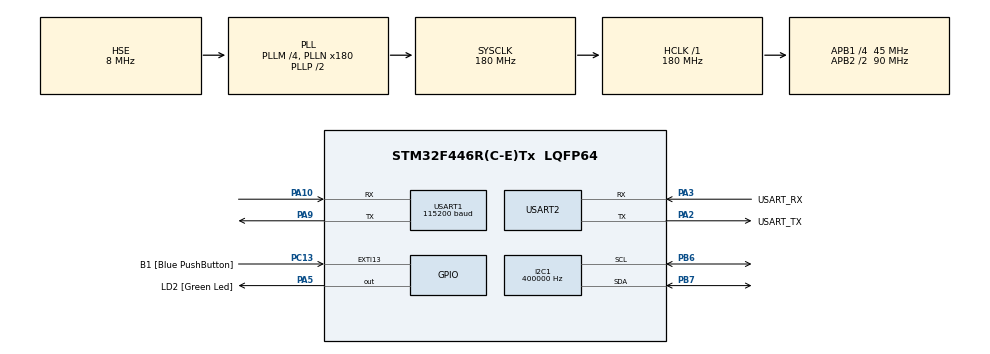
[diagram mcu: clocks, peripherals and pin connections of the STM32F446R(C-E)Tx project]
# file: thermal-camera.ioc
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Dma.I2C1_RX.0.Direction=DMA_PERIPH_TO_MEMORY
Dma.I2C1_RX.0.FIFOMode=DMA_FIFOMODE_ENABLE
Dma.I2C1_RX.0.FIFOThreshold=DMA_FIFO_THRESHOLD_FULL
Dma.I2C1_RX.0.Instance=DMA1_Stream0
Dma.I2C1_RX.0.MemBurst=DMA_MBURST_SINGLE
Dma.I2C1_RX.0.MemDataAlignment=DMA_MDATAALIGN_HALFWORD
Dma.I2C1_RX.0.MemInc=DMA_MINC_ENABLE
Dma.I2C1_RX.0.Mode=DMA_CIRCULAR
Dma.I2C1_RX.0.PeriphBurst=DMA_PBURST_SINGLE
Dma.I2C1_RX.0.PeriphDataAlignment=DMA_PDATAALIGN_HALFWORD
Dma.I2C1_RX.0.PeriphInc=DMA_PINC_DISABLE
Dma.I2C1_RX.0.Priority=DMA_PRIORITY_LOW
Dma.Request0=I2C1_RX
FREERTOS.HEAP_NUMBER=5
FREERTOS.Tasks01=ThermalCamTask,24,4096,StartCamTask,As weak,NULL,Dynamic,NULL,NULL;EspTxTask,24,512,StartEspTxTask,As weak,NULL,Dynamic,NULL,NULL
FREERTOS.configMINIMAL_STACK_SIZE=512
FREERTOS.configTOTAL_HEAP_SIZE=32768
FREERTOS.configUSE_PREEMPTION=1
I2C1.ClockSpeed=400000
I2C1.I2C_Mode=I2C_Fast
I2C1.OwnAddress=0x0
Mcu.Family=STM32F4
Mcu.Name=STM32F446R(C-E)Tx
Mcu.Package=LQFP64
NVIC.DMA1_Stream0_IRQn=true\:5\:0\:false\:false\:true\:true\:false\:true\:true
NVIC.I2C1_EV_IRQn=true\:5\:0\:false\:false\:true\:true\:true\:true\:true
NVIC.PriorityGroup=NVIC_PRIORITYGROUP_4
NVIC.TIM6_DAC_IRQn=true\:15\:0\:false\:false\:true\:false\:false\:true\:true
NVIC.TimeBase=TIM6_DAC_IRQn
NVIC.TimeBaseIP=TIM6
NVIC.USART1_IRQn=true\:5\:0\:false\:false\:true\:true\:true\:true\:true
NVIC.USART2_IRQn=true\:5\:0\:false\:false\:true\:true\:true\:true\:true
PA10.Mode=Asynchronous
PA10.Signal=USART1_RX
PA13.GPIO_Label=TMS
PA13.Mode=Serial_Wire
PA13.Signal=SYS_JTMS-SWDIO
PA14.GPIO_Label=TCK
PA14.Mode=Serial_Wire
PA14.Signal=SYS_JTCK-SWCLK
PA2.GPIO_Label=USART_TX
PA2.Mode=Asynchronous
PA2.Signal=USART2_TX
PA3.GPIO_Label=USART_RX
PA3.Mode=Asynchronous
PA3.Signal=USART2_RX
PA5.GPIO_Label=LD2 [Green Led]
PA5.Signal=GPIO_Output
PA9.Mode=Asynchronous
PA9.Signal=USART1_TX
PB6.Mode=I2C
PB6.Signal=I2C1_SCL
PB7.Mode=I2C
PB7.Signal=I2C1_SDA
PC13.GPIO_Label=B1 [Blue PushButton]
PC13.GPIO_ModeDefaultEXTI=GPIO_MODE_IT_FALLING
PC13.Signal=GPXTI13
PH0-OSC_IN.Mode=HSE-External-Oscillator
PH0-OSC_IN.Signal=RCC_OSC_IN
PH1-OSC_OUT.Mode=HSE-External-Oscillator
PH1-OSC_OUT.Signal=RCC_OSC_OUT
ProjectManager.HeapSize=0x200
ProjectManager.StackSize=0x400
ProjectManager.TargetToolchain=STM32CubeIDE
RCC.48MHZClocksFreq_Value=84000000
RCC.AHBFreq_Value=180000000
RCC.APB1CLKDivider=RCC_HCLK_DIV4
RCC.APB1Freq_Value=45000000
RCC.APB1TimFreq_Value=90000000
RCC.APB2CLKDivider=RCC_HCLK_DIV2
RCC.APB2Freq_Value=90000000
RCC.APB2TimFreq_Value=180000000
RCC.CortexFreq_Value=180000000
RCC.FLatency-AdvancedSettings=FLASH_LATENCY_5
RCC.HCLKFreq_Value=180000000
RCC.HSE_VALUE=8000000
RCC.HSI_VALUE=16000000
RCC.PLLM=4
RCC.PLLN=180
RCC.PLLSourceVirtual=RCC_PLLSOURCE_HSE
RCC.SYSCLKFreq_VALUE=180000000
RCC.SYSCLKSource=RCC_SYSCLKSOURCE_PLLCLK
RCC.USBFreq_Value=180000000
RCC.VCOOutputFreq_Value=360000000
USART1.BaudRate=115200
USART1.VirtualMode=VM_ASYNC
USART2.VirtualMode=VM_ASYNC
VP_FREERTOS_VS_CMSIS_V2.Mode=CMSIS_V2
VP_SYS_VS_tim6.Mode=TIM6
board=NUCLEO-F446RE

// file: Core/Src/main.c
/* USER CODE BEGIN Header */
/**
  ******************************************************************************
  * @file           : main.c
  * @brief          : Main program body
  ******************************************************************************
  * @attention
  *
  * Copyright (c) 2022 STMicroelectronics.
  * All rights reserved.
  *
  * This software is licensed under terms that can be found in the LICENSE file
  * in the root directory of this software component.
  * If no LICENSE file comes with this software, it is provided AS-IS.
  *
  ******************************************************************************
  */
/* USER CODE END Header */
#include "main.h"
#include "cmsis_os.h"

 I2C_HandleTypeDef hi2c1;
DMA_HandleTypeDef hdma_i2c1_rx;

UART_HandleTypeDef huart1;
UART_HandleTypeDef huart2;

/* Definitions for ThermalCamTask */
osThreadId_t ThermalCamTaskHandle;
const osThreadAttr_t ThermalCamTask_attributes = {
  .name = "ThermalCamTask",
  .stack_size = 4096 * 4,
  .priority = (osPriority_t) osPriorityNormal,
};
/* Definitions for EspTxTask */
osThreadId_t EspTxTaskHandle;
const osThreadAttr_t EspTxTask_attributes = {
  .name = "EspTxTask",
  .stack_size = 512 * 4,
  .priority = (osPriority_t) osPriorityNormal,
};
/* USER CODE BEGIN PV */

#ifdef __GNUC__
#define PUTCHAR_PROTOTYPE int __io_putchar(int ch)
#else
#define PUTCHAR_PROTOTYPE int fputc(int ch, FILE *f)
#endif /* __GNUC__ */
PUTCHAR_PROTOTYPE
{
	while (HAL_UART_Transmit(&huart2, (uint8_t *)&ch, 1, 10) != HAL_OK) {};
	return ch;
}

#ifdef __GNUC__
#define GETCHAR_PROTOTYPE int __io_getchar (void)
#else
#define GETCHAR_PROTOTYPE int fgetc(FILE * f)
#endif /* __GNUC__ */
GETCHAR_PROTOTYPE
{
	uint8_t ch = 0;
	// Clear the Overrun flag just before receiving the first character
	__HAL_UART_CLEAR_OREFLAG(&huart2);
	HAL_UART_Receive(&huart2, (uint8_t *)&ch, 1, 0xFFFF);
	while (HAL_UART_Transmit(&huart2, (uint8_t *)&ch, 1, 10) != HAL_OK) {};
	return ch;
}

/* USER CODE END PV */

void SystemClock_Config(void);
static void MX_GPIO_Init(void);
static void MX_USART2_UART_Init(void);
static void MX_DMA_Init(void);
static void MX_I2C1_Init(void);
static void MX_USART1_UART_Init(void);
void StartCamTask(void *argument);
void StartEspTxTask(void *argument);

int main(void)
{

  /* MCU Configuration--------------------------------------------------------*/

  /* Reset of all peripherals, Initializes the Flash interface and the Systick. */
  HAL_Init();

  /* Configure the system clock */
  SystemClock_Config();

  /* Initialize all configured peripherals */
  MX_GPIO_Init();
  MX_USART2_UART_Init();
  MX_DMA_Init();
  MX_I2C1_Init();
  MX_USART1_UART_Init();

  /* Init scheduler */
  osKernelInitialize();

  /* Create the thread(s) */
  /* creation of ThermalCamTask */
  ThermalCamTaskHandle = osThreadNew(StartCamTask, NULL, &ThermalCamTask_attributes);

  /* creation of EspTxTask */
  EspTxTaskHandle = osThreadNew(StartEspTxTask, NULL, &EspTxTask_attributes);

  /* Start scheduler */
  osKernelStart();

  /* We should never get here as control is now taken by the scheduler */
  /* Infinite loop */
  while (1)
  {

  }
}

void SystemClock_Config(void)
{
  RCC_OscInitTypeDef RCC_OscInitStruct = {0};
  RCC_ClkInitTypeDef RCC_ClkInitStruct = {0};

  /** Configure the main internal regulator output voltage
  */
  __HAL_RCC_PWR_CLK_ENABLE();
  __HAL_PWR_VOLTAGESCALING_CONFIG(PWR_REGULATOR_VOLTAGE_SCALE1);

  /** Initializes the RCC Oscillators according to the specified parameters
  * in the RCC_OscInitTypeDef structure.
  */
  RCC_OscInitStruct.OscillatorType = RCC_OSCILLATORTYPE_HSE;
  RCC_OscInitStruct.HSEState = RCC_HSE_ON;
  RCC_OscInitStruct.PLL.PLLState = RCC_PLL_ON;
  RCC_OscInitStruct.PLL.PLLSource = RCC_PLLSOURCE_HSE;
  RCC_OscInitStruct.PLL.PLLM = 4;
  RCC_OscInitStruct.PLL.PLLN = 180;
  RCC_OscInitStruct.PLL.PLLP = RCC_PLLP_DIV2;
  RCC_OscInitStruct.PLL.PLLQ = 2;
  RCC_OscInitStruct.PLL.PLLR = 2;
  if (HAL_RCC_OscConfig(&RCC_OscInitStruct) != HAL_OK)
  {
    Error_Handler();
  }

  /** Activate the Over-Drive mode
  */
  if (HAL_PWREx_EnableOverDrive() != HAL_OK)
  {
    Error_Handler();
  }

  /** Initializes the CPU, AHB and APB buses clocks
  */
  RCC_ClkInitStruct.ClockType = RCC_CLOCKTYPE_HCLK|RCC_CLOCKTYPE_SYSCLK
                              |RCC_CLOCKTYPE_PCLK1|RCC_CLOCKTYPE_PCLK2;
  RCC_ClkInitStruct.SYSCLKSource = RCC_SYSCLKSOURCE_PLLCLK;
  RCC_ClkInitStruct.AHBCLKDivider = RCC_SYSCLK_DIV1;
  RCC_ClkInitStruct.APB1CLKDivider = RCC_HCLK_DIV4;
  RCC_ClkInitStruct.APB2CLKDivider = RCC_HCLK_DIV2;

  if (HAL_RCC_ClockConfig(&RCC_ClkInitStruct, FLASH_LATENCY_5) != HAL_OK)
  {
    Error_Handler();
  }
}

static void MX_I2C1_Init(void)
{

  hi2c1.Instance = I2C1;
  hi2c1.Init.ClockSpeed = 400000;
  hi2c1.Init.DutyCycle = I2C_DUTYCYCLE_2;
  hi2c1.Init.OwnAddress1 = 0;
  hi2c1.Init.AddressingMode = I2C_ADDRESSINGMODE_7BIT;
  hi2c1.Init.DualAddressMode = I2C_DUALADDRESS_DISABLE;
  hi2c1.Init.OwnAddress2 = 0;
  hi2c1.Init.GeneralCallMode = I2C_GENERALCALL_DISABLE;
  hi2c1.Init.NoStretchMode = I2C_NOSTRETCH_DISABLE;
  if (HAL_I2C_Init(&hi2c1) != HAL_OK)
  {
    Error_Handler();
  }

}

static void MX_USART1_UART_Init(void)
{

  huart1.Instance = USART1;
  huart1.Init.BaudRate = 115200;
  huart1.Init.WordLength = UART_WORDLENGTH_8B;
  huart1.Init.StopBits = UART_STOPBITS_1;
  huart1.Init.Parity = UART_PARITY_NONE;
  huart1.Init.Mode = UART_MODE_TX_RX;
  huart1.Init.HwFlowCtl = UART_HWCONTROL_NONE;
  huart1.Init.OverSampling = UART_OVERSAMPLING_16;
  if (HAL_UART_Init(&huart1) != HAL_OK)
  {
    Error_Handler();
  }

}

static void MX_USART2_UART_Init(void)
{

  huart2.Instance = USART2;
  huart2.Init.BaudRate = 115200;
  huart2.Init.WordLength = UART_WORDLENGTH_8B;
  huart2.Init.StopBits = UART_STOPBITS_1;
  huart2.Init.Parity = UART_PARITY_NONE;
  huart2.Init.Mode = UART_MODE_TX_RX;
  huart2.Init.HwFlowCtl = UART_HWCONTROL_NONE;
  huart2.Init.OverSampling = UART_OVERSAMPLING_16;
  if (HAL_UART_Init(&huart2) != HAL_OK)
  {
    Error_Handler();
  }

}

static void MX_DMA_Init(void)
{

  /* DMA controller clock enable */
  __HAL_RCC_DMA1_CLK_ENABLE();

  /* DMA interrupt init */
  /* DMA1_Stream0_IRQn interrupt configuration */
  HAL_NVIC_SetPriority(DMA1_Stream0_IRQn, 5, 0);
  HAL_NVIC_EnableIRQ(DMA1_Stream0_IRQn);

}

static void MX_GPIO_Init(void)
{
  GPIO_InitTypeDef GPIO_InitStruct = {0};

  /* GPIO Ports Clock Enable */
  __HAL_RCC_GPIOC_CLK_ENABLE();
  __HAL_RCC_GPIOH_CLK_ENABLE();
  __HAL_RCC_GPIOA_CLK_ENABLE();
  __HAL_RCC_GPIOB_CLK_ENABLE();

  /*Configure GPIO pin Output Level */
  HAL_GPIO_WritePin(LD2_GPIO_Port, LD2_Pin, GPIO_PIN_RESET);

  /*Configure GPIO pin : B1_Pin */
  GPIO_InitStruct.Pin = B1_Pin;
  GPIO_InitStruct.Mode = GPIO_MODE_IT_FALLING;
  GPIO_InitStruct.Pull = GPIO_NOPULL;
  HAL_GPIO_Init(B1_GPIO_Port, &GPIO_InitStruct);

  /*Configure GPIO pin : LD2_Pin */
  GPIO_InitStruct.Pin = LD2_Pin;
  GPIO_InitStruct.Mode = GPIO_MODE_OUTPUT_PP;
  GPIO_InitStruct.Pull = GPIO_NOPULL;
  GPIO_InitStruct.Speed = GPIO_SPEED_FREQ_LOW;
  HAL_GPIO_Init(LD2_GPIO_Port, &GPIO_InitStruct);

}

__weak void StartCamTask(void *argument)
{
  for(;;)
  {
    osDelay(1);
  }
}

__weak void StartEspTxTask(void *argument)
{
  for(;;)
  {
    osDelay(1);
  }
}

void HAL_TIM_PeriodElapsedCallback(TIM_HandleTypeDef *htim)
{
  if (htim->Instance == TIM6) {
    HAL_IncTick();
  }
}

void Error_Handler(void)
{
  __disable_irq();
  while (1)
  {
  }
}

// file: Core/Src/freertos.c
/* USER CODE BEGIN Header */
/**
  ******************************************************************************
  * File Name          : freertos.c
  * Description        : Code for freertos applications
  ******************************************************************************
  * @attention
  *
  * Copyright (c) 2022 STMicroelectronics.
  * All rights reserved.
  *
  * This software is licensed under terms that can be found in the LICENSE file
  * in the root directory of this software component.
  * If no LICENSE file comes with this software, it is provided AS-IS.
  *
  ******************************************************************************
  */
/* USER CODE END Header */

#include "FreeRTOS.h"
#include "task.h"
#include "main.h"

/* USER CODE BEGIN Includes */
#include "cmsis_os.h"
#include <stdio.h>
#include <stdbool.h>
#include <memory.h>
#include <string.h>
#include "MLX90640_API.h"
#include "MLX90640_I2C_Driver.h"

/* USER CODE END Includes */

/* USER CODE BEGIN PD */
#define MLX90640_ADDR (0x33)
/* USER CODE END PD */

/* USER CODE BEGIN Variables */
extern I2C_HandleTypeDef hi2c1;
extern DMA_HandleTypeDef hdma_i2c1_rx;
extern UART_HandleTypeDef huart2;
extern UART_HandleTypeDef huart1;

extern osThreadId_t EspTxTaskHandle;

static uint8_t receiveBuf[150] = {0};
static char expectedStr[50] = {0};

typedef enum
{
	ESP_INIT = 0,
	RECEIVED_EXPECTED,
	RECEIVED_UNEXPECTED,
	BUSY_PROCESSING,
	ESP_ERROR,
	ESP_UNKNOWN,

} EspRxStatus;

static EspRxStatus espRxStatus = ESP_INIT;

/* USER CODE END Variables */

/* USER CODE BEGIN Application */

void HAL_I2C_MasterRxCpltCallback(I2C_HandleTypeDef *hi2c)
{
	if (hi2c == &hi2c1)
	{
		printf("data\r\n");
		HAL_GPIO_TogglePin(LD2_GPIO_Port, LD2_Pin);
	}
}

void HAL_UARTEx_RxEventCallback(UART_HandleTypeDef *huart, uint16_t Size)
{
	if (huart == &huart1)
	{
		__HAL_UART_CLEAR_OREFLAG(&huart1);
		receiveBuf[Size] = 0;

		if (strstr((char *)receiveBuf, expectedStr))
		{
			espRxStatus = RECEIVED_EXPECTED;
		}
		else if (strstr((char *)receiveBuf, "ERROR"))
		{
			espRxStatus = ESP_ERROR;
		}
		else if (strstr((char *)receiveBuf, "busy p.."))
		{
			espRxStatus = BUSY_PROCESSING;
		}
		else
		{
			espRxStatus = RECEIVED_UNEXPECTED;
			HAL_UARTEx_ReceiveToIdle_IT(&huart1, &receiveBuf[0], 50);
		}

		printf("-- %d ", Size);
		uint16_t i = 0;
		for (i = 0; receiveBuf[i] != 0; i++)
		{
			printf ("%c", receiveBuf[i]);
		}
		printf ("--\r\n");

	}
}

void StartCamTask(void *argument)
{
	paramsMLX90640 mlxParams;
	uint16_t mlx90640Data[834] = {0};

	float image[770] = {0};
	uint8_t crAndLf[2] = {'\r', '\n'};
	memcpy((uint8_t*)&image[768], crAndLf, sizeof(crAndLf));

	float tr = 0;
	float emissivity = 0.95;

	int16_t status = -1;

	MLX90640_I2CInit(&hi2c1);
//
	MLX90640_SetRefreshRate(MLX90640_ADDR, MLX_16_HZ);
//
	MLX90640_DumpEE(MLX90640_ADDR, mlx90640Data);
	MLX90640_ExtractParameters(mlx90640Data, &mlxParams);

	osDelay(500);

//	printf("Broken pixels: \r\n");
//	for (i = 0; i < 5; i++)
//	{
//		printf("0x%X ", mlxParams.brokenPixels[i]);
//	}
//
//	printf("\r\n");
//	printf("Outlier pixels: \r\n");
//	for (i = 0; i < 5; i++)
//	{
//		printf("0x%X ", mlxParams.outlierPixels[i]);
//	}
//
//	printf("\r\n");
	uint32_t sampledFrames = 0;
	for (;;)
	{
		printf ("Test2\r\n");
//		uint32_t start = osKernelGetTickCount();
		status = MLX90640_SynchFrame(MLX90640_ADDR);
		if (status != 0)
		{
			printf("SynchFrame failed\r\n");
			osDelay(1000);
			continue;
		}

		MLX90640_GetFrameData(MLX90640_ADDR, mlx90640Data);
//
		tr = MLX90640_GetTa(mlx90640Data, &mlxParams) - 8;
//
		MLX90640_CalculateTo(mlx90640Data, &mlxParams, emissivity, tr, image);

		// Not needed at the moment
//		MLX90640_BadPixelsCorrection(mlxParams.brokenPixels, image, 1, &mlxParams);
//		MLX90640_BadPixelsCorrection(mlxParams.outlierPixels, image, 1, &mlxParams);

		if ((sampledFrames + 1) % 2 == 0)
		{
			//HAL_UART_Transmit(&huart1, (uint8_t*)&image, sizeof(image), osWaitForever);
			//printf ("%.2f %.2f %.2f %.2f\r\n", tr, image[100], image[200], image[300]);
		}
		sampledFrames++;

		osDelay(5000);
//
//		uint32_t end = osKernelGetTickCount();
//		printf ("%lu\r\n", end - start);
	}
}

static void sendAtAndWaitForResponse(const char *command, const char *exptectedMsg)
{
	__HAL_UART_CLEAR_OREFLAG(&huart1);

	espRxStatus = ESP_INIT;
	printf ("Command: %s\r\n", command);
	strcpy(expectedStr, exptectedMsg);
	printf ("expectedStr: %s\r\n", expectedStr);

	HAL_UARTEx_ReceiveToIdle_IT(&huart1, receiveBuf, 50);
	HAL_UART_Transmit(&huart1, (uint8_t*)command, strlen(command), 5000);

	while (espRxStatus != RECEIVED_EXPECTED)
	{
		if (espRxStatus == BUSY_PROCESSING)
		{
			osDelay(1000);
			espRxStatus = ESP_UNKNOWN;
			HAL_UARTEx_ReceiveToIdle_IT(&huart1, receiveBuf, 50);
			HAL_UART_Transmit(&huart1, (uint8_t*)command, strlen(command), 5000);
		}
		else if (espRxStatus == ESP_ERROR || espRxStatus == RECEIVED_UNEXPECTED)
		{
			printf ("Error looping: %u\r\n", espRxStatus);
			osDelay(2000);
		}
	}
}

void StartEspTxTask(void *argument)
{
	// Test command
	const char AT_test[] = "AT\r\n";
	// Switch echo off
	const char AT_echo[] = "ATE0\r\n";
	// Query Wifi state and info
	const char AT_query[] = "AT+CWMODE?\r\n";
	const char AT_setStationMode[] = "AT+CWMODE=1\r\n";
	const char AT_dc[] = "AT+CWQAP\r\n";
	const char AT_connectStationToAp[] = "AT+CWJAP=\"WIFI NAME\",\"WIFI PASSWORD\"\r\n";
	// Establish TCP connection
	const char AT_establishTCP[] = "AT+CIPSTART=\"TCP\",\"192.168.1.174\",65432\r\n";
	const char AT_sendTestData[] = "AT+CIPSEND=5\r\n";
	const char testData[] = "data\n";

	osDelay(2000);

	printf ("Setting echo off...\r\n");
	sendAtAndWaitForResponse(AT_echo, "OK");

	printf ("Connecting to AP...\r\n");
	sendAtAndWaitForResponse(AT_connectStationToAp, "OK");

	printf ("Connecting to the server...\r\n");
	sendAtAndWaitForResponse(AT_establishTCP, "OK");

	for (;;)
	{

		sendAtAndWaitForResponse(AT_sendTestData, "OK");
		sendAtAndWaitForResponse(testData, "SEND OK");

		printf("Esp tx\r\n");
		osDelay(3000);
	}
}

/* USER CODE END Application */
